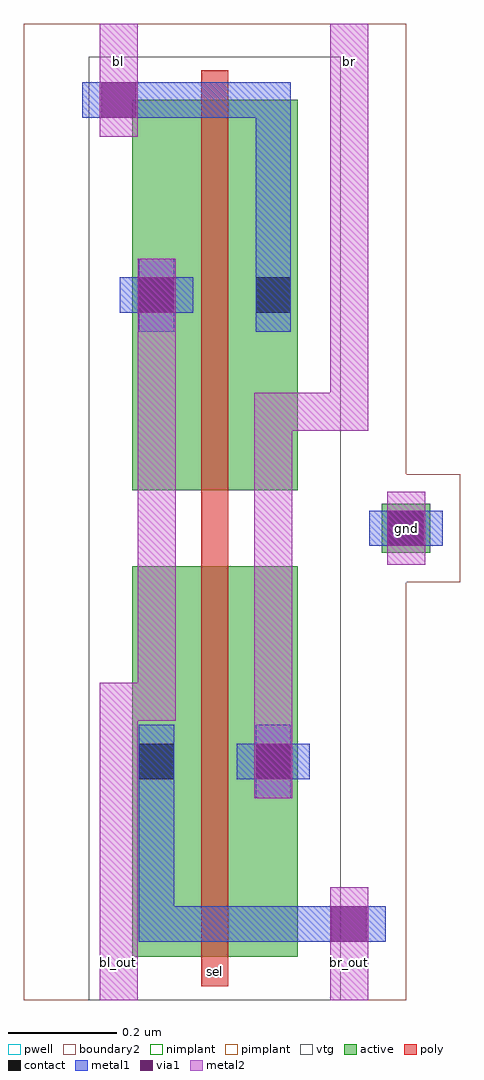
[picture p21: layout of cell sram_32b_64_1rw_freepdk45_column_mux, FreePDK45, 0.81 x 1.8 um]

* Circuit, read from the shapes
.subckt sram_32b_64_1rw_freepdk45_column_mux bl bl_out br br_out gnd sel
M1 br sel br_out gnd nfet w=0.72u l=0.05u
M2 bl sel bl_out gnd nfet w=0.72u l=0.05u
.ends

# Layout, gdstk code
import gdstk
lib = gdstk.Library(unit=1e-6, precision=5e-10)
def R(c, l, rs):  # rectangles x0, y0, x1, y1
    for r in rs: c.add(gdstk.rectangle(r[:2], r[2:], *l))
def A(c, l, x, y, w, h, nx, ny, dx, dy):  # array of equal rectangles
    R(c, l, [(x+i*dx, y+j*dy, x+i*dx+w, y+j*dy+h) for i in range(nx) for j in range(ny)])
active = (1, 0)
pwell = (2, 0)
nimplant = (4, 0)
pimplant = (5, 0)
vtg = (6, 0)
poly = (9, 0)
contact = (10, 0)
metal1 = (11, 0)
via1 = (12, 0)
metal2 = (13, 0)
boundary2 = (239, 0)

sram_32b_64_1rw_freepdk4 = lib.new_cell('sram_32b_64_1rw_freepdk45_contact_10')
R(sram_32b_64_1rw_freepdk4, active, [(0,0.0225,0.09,0.1125)])
R(sram_32b_64_1rw_freepdk4, pwell, [(-0.055,-0.0325,0.145,0.1675)])
R(sram_32b_64_1rw_freepdk4, nimplant, [(0,0.0225,0.09,0.1125)])
R(sram_32b_64_1rw_freepdk4, contact, [(0.0125,0.035,0.0775,0.1)])
R(sram_32b_64_1rw_freepdk4, metal1, [(0.0125,0,0.0775,0.135)])
R(sram_32b_64_1rw_freepdk4, boundary2, [(-0.055,-0.0325,0.145,0.1675)])

c_sram_32b_64_1rw_freepdk4 = lib.new_cell('sram_32b_64_1rw_freepdk45_nmos_m1_w0_720_sm1_dm1')
R(c_sram_32b_64_1rw_freepdk4, active, [(0,0,0.305,0.72)])
R(c_sram_32b_64_1rw_freepdk4, pwell, [(-0.08,-0.08,0.385,0.8)])
R(c_sram_32b_64_1rw_freepdk4, nimplant, [(0,0,0.305,0.72)])
R(c_sram_32b_64_1rw_freepdk4, vtg, [(-0.08,-0.08,0.385,0.8)])
R(c_sram_32b_64_1rw_freepdk4, poly, [(0.1275,-0.055,0.1775,0.775), (0.1275,-0.055,0.1775,0.775)])
R(c_sram_32b_64_1rw_freepdk4, metal1, [(0.0125,0.2925,0.0775,0.4275), (0.2275,0.2925,0.2925,0.4275)])
R(c_sram_32b_64_1rw_freepdk4, boundary2, [(-0.08,-0.08,0.385,0.8)])
c_sram_32b_64_1rw_freepdk4.add(gdstk.Reference(sram_32b_64_1rw_freepdk4, (0,0.2925)))
c_sram_32b_64_1rw_freepdk4.add(gdstk.Reference(sram_32b_64_1rw_freepdk4, (0.215,0.2925)))
c_sram_32b_64_1rw_freepdk4.add(gdstk.Label('G', (0.1525,0.36), layer=9, texttype=0))
c_sram_32b_64_1rw_freepdk4.add(gdstk.Label('S', (0.045,0.36), layer=11, texttype=0))
c_sram_32b_64_1rw_freepdk4.add(gdstk.Label('D', (0.26,0.36), layer=11, texttype=0))

c_sram_32b_64_1rw_freepdk4_ = lib.new_cell('sram_32b_64_1rw_freepdk45_contact_17')
R(c_sram_32b_64_1rw_freepdk4_, metal1, [(0,0.035,0.135,0.1)])
R(c_sram_32b_64_1rw_freepdk4_, via1, [(0.035,0.035,0.1,0.1)])
R(c_sram_32b_64_1rw_freepdk4_, metal2, [(0.0325,0,0.1025,0.135)])
R(c_sram_32b_64_1rw_freepdk4_, boundary2, [(0,0,0.135,0.135)])

c_sram_32b_64_1rw_freepdk4__ = lib.new_cell('sram_32b_64_1rw_freepdk45_contact_24')
R(c_sram_32b_64_1rw_freepdk4__, active, [(0.0225,0,0.1125,0.09)])
R(c_sram_32b_64_1rw_freepdk4__, pwell, [(-0.0325,-0.055,0.1675,0.145)])
R(c_sram_32b_64_1rw_freepdk4__, pimplant, [(0.0225,0,0.1125,0.09)])
R(c_sram_32b_64_1rw_freepdk4__, contact, [(0.035,0.0125,0.1,0.0775)])
R(c_sram_32b_64_1rw_freepdk4__, metal1, [(0,0.0125,0.135,0.0775)])
R(c_sram_32b_64_1rw_freepdk4__, boundary2, [(-0.0325,-0.055,0.1675,0.145)])

c_sram_32b_64_1rw_freepdk4___ = lib.new_cell('sram_32b_64_1rw_freepdk45_column_mux')
R(c_sram_32b_64_1rw_freepdk4___, pwell, [(0,0,0.705,1.8)])
R(c_sram_32b_64_1rw_freepdk4___, poly, [(0.3275,0.025,0.3775,0.08), (0.3275,0.8,0.3775,0.94)])
R(c_sram_32b_64_1rw_freepdk4___, metal1, [(0.2125,0.1075,0.2775,0.1725), (0.245,0.1075,0.6,0.1725), (0.2125,0.14,0.2775,0.44), (0.6725,0.8375,0.7375,0.9025), (0.4275,1.3,0.4925,1.66), (0.14,1.6275,0.46,1.6925), (0.4275,1.6275,0.4925,1.6925)])
A(c_sram_32b_64_1rw_freepdk4___, metal2, 0.14, 0.515, 0.07, 0.07, 3, 1, 0.035, 0)
R(c_sram_32b_64_1rw_freepdk4___, metal2, [(0.14,0,0.21,0.14), (0.565,0,0.635,0.14), (0.14,0.14,0.21,0.55), (0.425,0.44,0.495,1.085), (0.21,0.55,0.28,1.3), (0.425,1.05,0.495,1.12), (0.46,1.05,0.6,1.12), (0.565,1.05,0.635,1.12), (0.565,1.085,0.635,1.66), (0.14,1.66,0.21,1.8), (0.565,1.66,0.635,1.8)])
R(c_sram_32b_64_1rw_freepdk4___, boundary2, [(0,0,0.705,1.8)])
c_sram_32b_64_1rw_freepdk4___.add(gdstk.Reference(c_sram_32b_64_1rw_freepdk4, (0.2,0.08)))
c_sram_32b_64_1rw_freepdk4___.add(gdstk.Reference(c_sram_32b_64_1rw_freepdk4, (0.2,0.94)))
c_sram_32b_64_1rw_freepdk4___.add(gdstk.Reference(c_sram_32b_64_1rw_freepdk4_, (0.1075,1.5925)))
c_sram_32b_64_1rw_freepdk4___.add(gdstk.Reference(c_sram_32b_64_1rw_freepdk4_, (0.5325,0.0725)))
c_sram_32b_64_1rw_freepdk4___.add(gdstk.Reference(c_sram_32b_64_1rw_freepdk4_, (0.1775,1.2325)))
c_sram_32b_64_1rw_freepdk4___.add(gdstk.Reference(c_sram_32b_64_1rw_freepdk4_, (0.3925,0.3725)))
c_sram_32b_64_1rw_freepdk4___.add(gdstk.Reference(c_sram_32b_64_1rw_freepdk4__, (0.6375,0.825)))
c_sram_32b_64_1rw_freepdk4___.add(gdstk.Reference(c_sram_32b_64_1rw_freepdk4_, (0.6375,0.8025)))
c_sram_32b_64_1rw_freepdk4___.add(gdstk.Label('sel', (0.3525,0.0525), layer=9, texttype=0))
c_sram_32b_64_1rw_freepdk4___.add(gdstk.Label('bl', (0.175,1.73), layer=13, texttype=0))
c_sram_32b_64_1rw_freepdk4___.add(gdstk.Label('br', (0.6,1.73), layer=13, texttype=0))
c_sram_32b_64_1rw_freepdk4___.add(gdstk.Label('bl_out', (0.175,0.07), layer=13, texttype=0))
c_sram_32b_64_1rw_freepdk4___.add(gdstk.Label('br_out', (0.6,0.07), layer=13, texttype=0))
c_sram_32b_64_1rw_freepdk4___.add(gdstk.Label('gnd', (0.705,0.87), layer=11, texttype=0))

lib.write_gds('sram_32b_64_1rw_freepdk45_column_mux.gds')
